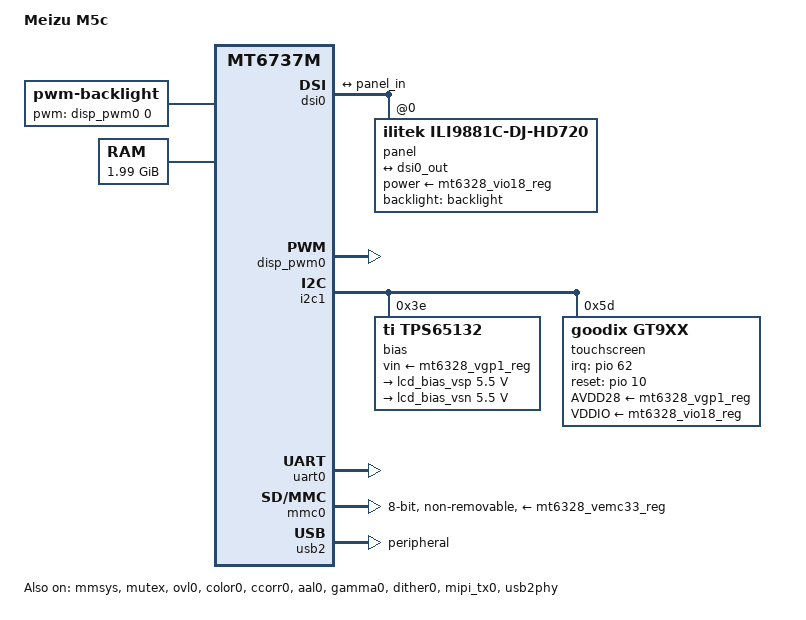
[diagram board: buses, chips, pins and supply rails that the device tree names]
// SPDX-License-Identifier: BSD-3-Clause
/dts-v1/;

#include <dt-bindings/gpio/gpio.h>

#include "mt6737m.dtsi"
#include "mt6328.dtsi"

/ {
	model = "Meizu M5c";
	compatible = "meizu,m5c", "mediatek,mt6737m";

	aliases {
		serial0 = &uart0;
		mmc0 = &mmc0;
	};

	/*
	 * Backlight on DISP_PWM channel 0.
	 * UNPROVEN: the stock board only provides led_mode = <5> and
	 * pwm_config = <0 0 0 0 0>; the 20 kHz period is a placeholder and
	 * the PWM output pin/pinmux is not known yet.
	 */
	backlight: backlight {
		compatible = "pwm-backlight";
		pwms = <&disp_pwm0 0 50000>;
	};

	chosen {
		stdout-path = "serial0:921600n8";
	};

	memory@40000000 {
		device_type = "memory";
		reg = <0 0x40000000 0 0x40000000>,
		      <0 0x80000000 0 0x3f330000>;
	};

	reserved-memory {
		#address-cells = <2>;
		#size-cells = <2>;
		ranges;

		atf@43000000 {
			reg = <0 0x43000000 0 0x30000>;
			no-map;
		};

		ram-console@43f00000 {
			reg = <0 0x43f00000 0 0x10000>;
			no-map;
		};

		pstore@43f10000 {
			reg = <0 0x43f10000 0 0xe0000>;
			no-map;
		};

		minirdump@43ff0000 {
			reg = <0 0x43ff0000 0 0x10000>;
			no-map;
		};

		consys {
			size = <0 0x100000>;
			alignment = <0 0x200000>;
			no-map;
		};

		modem {
			size = <0 0x3810000>;
			alignment = <0 0x2000000>;
			alloc-ranges = <0 0x40000000 0 0xc0000000>;
			no-map;
		};

		dram-r0-dummy-read {
			size = <0 0x1000>;
			alignment = <0 0x1000>;
			alloc-ranges = <0 0x40000000 0 0x40000000>;
		};

		dram-r1-dummy-read {
			size = <0 0x1000>;
			alignment = <0 0x1000>;
			alloc-ranges = <0 0x80000000 0 0x3f330000>;
		};
	};
};

/*
 * Display skeleton for the m5c (MT6737M).  All register data comes from the
 * vendor 4.9 tree; this has never been run on hardware.  There is no
 * power-domains/scpsys node yet and no SMI larb0/iommu, so the DISP domain
 * and the SMI gates are left as LK configured them.
 */
&mmsys {
	status = "okay";
};

&mutex {
	status = "okay";
};

&ovl0 {
	status = "okay";
};

&rdma0 {
	status = "okay";
};

&color0 {
	status = "okay";
};

&ccorr0 {
	status = "okay";
};

&aal0 {
	status = "okay";
};

&gamma0 {
	status = "okay";
};

&dither0 {
	status = "okay";
};

/*
 * DSI0: the panel reset is MMSYS+0x150 bit 0 (LCM_RST_B), not a GPIO, see
 * the mtk_dsi quirk.  Panel timing/init table live in
 * panel-ilitek-ili9881c.c (ilitek,ili9881c-dj-hd720).
 */
&dsi0 {
	status = "okay";
	mediatek,mmsys = <&mmsys>;
	mediatek,lcm-reset-in-mmsys;

	port {
		dsi0_out: endpoint {
			remote-endpoint = <&panel_in>;
		};
	};

	panel@0 {
		compatible = "ilitek,ili9881c-dj-hd720";
		reg = <0>;

		/*
		 * UNPROVEN: VGP1 is what the vendor switches in lcm_init_power()
		 * and is used here as the bias chip VIN; the panel VDDI/IOVCC is
		 * assumed to be the always-on VIO18 rail.  The panel driver only
		 * models one supply.
		 */
		power-supply = <&mt6328_vio18_reg>;
		backlight = <&backlight>;

		port {
			panel_in: endpoint {
				remote-endpoint = <&dsi0_out>;
			};
		};
	};
};

&mipi_tx0 {
	status = "okay";
};

&disp_pwm0 {
	status = "okay";
};

&i2c1 {
	status = "okay";

	/*
	 * TPS65132 bias.  Vendor: i2c1 0x3e, ENP GPIO64, ENN GPIO63, both
	 * driven high to enable (bridge-stock.dts:2327-2368).
	 */
	bias: regulator@3e {
		compatible = "ti,tps65132";
		reg = <0x3e>;
		vin-supply = <&mt6328_vgp1_reg>;

		outp {
			regulator-name = "lcd_bias_vsp";
			/* vendor writes reg 0x00 = 0x0f -> 4.0 V + 15 * 100 mV */
			regulator-min-microvolt = <5500000>;
			regulator-max-microvolt = <5500000>;
			regulator-always-on;
			enable-gpios = <&pio 64 GPIO_ACTIVE_HIGH>;
			/* driver requires the property even without a discharge GPIO */
			ti,active-discharge-time-us = <0>;
		};

		outn {
			regulator-name = "lcd_bias_vsn";
			/* vendor writes reg 0x01 = 0x0f -> -5.5 V */
			regulator-min-microvolt = <5500000>;
			regulator-max-microvolt = <5500000>;
			regulator-always-on;
			enable-gpios = <&pio 63 GPIO_ACTIVE_HIGH>;
			ti,active-discharge-time-us = <0>;
		};
	};

	/*
	 * GT9XXTB touch.  Vendor: i2c1 0x5d, EINT GPIO62, reset GPIO10.
	 * UNPROVEN: exact GT9xxx chip ID string; the mainline goodix driver
	 * reads it at runtime, so gt911 is only the match fallback and the
	 * regulator rails are assumed (vendor uses VGP1 for vtouch).
	 */
	touchscreen@5d {
		compatible = "goodix,gt9xx", "goodix,gt911";
		reg = <0x5d>;
		interrupt-parent = <&pio>;
		interrupts = <62 IRQ_TYPE_EDGE_FALLING>;
		irq-gpios = <&pio 62 GPIO_ACTIVE_HIGH>;
		reset-gpios = <&pio 10 GPIO_ACTIVE_HIGH>;
		AVDD28-supply = <&mt6328_vgp1_reg>;
		VDDIO-supply = <&mt6328_vio18_reg>;
	};

};

&pio {
	uart0_default: uart0-default-pins {
		pins-rx-tx {
			pinmux = <PINMUX_GPIO74__FUNC_URXD0>,
				 <PINMUX_GPIO75__FUNC_UTXD0>;
		};
	};
};

&uart0 {
	pinctrl-names = "default";
	pinctrl-0 = <&uart0_default>;
	status = "okay";
};

&pwrap {
	status = "okay";
};

&mt6328_keys {
	status = "okay";
};

&mmc0 {
	vmmc-supply = <&mt6328_vemc33_reg>;
	vqmmc-supply = <&mt6328_vio18_reg>;
	bus-width = <8>;
	max-frequency = <26000000>;
	non-removable;
	disable-wp;
	no-sd;
	no-sdio;
	status = "okay";
};

&usb2 {
	dr_mode = "peripheral";
	status = "okay";
};

&usb2phy {
	status = "okay";
};
